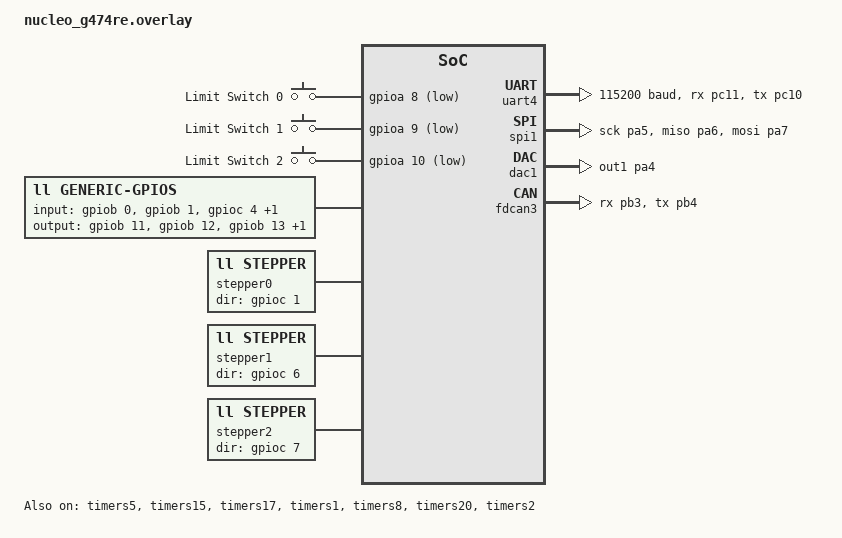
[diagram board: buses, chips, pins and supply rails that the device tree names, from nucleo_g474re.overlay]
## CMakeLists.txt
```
cmake_minimum_required(VERSION 3.20.0)

# Generate a version file based on the git tag & hash at project configuration time
execute_process(
        COMMAND python3 ../gen_version.py
        OUTPUT_FILE ${CMAKE_CURRENT_SOURCE_DIR}/VERSION
        WORKING_DIRECTORY ${CMAKE_CURRENT_SOURCE_DIR}
)


find_package(Zephyr REQUIRED HINTS $ENV{ZEPHYR_BASE})
project(pellet_module_firmware)

set(SRCS
        src/main.c
        src/fault_safety.c
)

target_sources(app PRIVATE ${SRCS})
target_include_directories(app PRIVATE .)
```

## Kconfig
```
mainmenu "Autotrainer Pellet Module Firmware"

source "Kconfig.zephyr"
```

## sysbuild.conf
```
# Sysbuild configuration file.

# Enable MCUboot by default
SB_CONFIG_BOOTLOADER_MCUBOOT=y
SB_CONFIG_BOOT_SIGNATURE_KEY_FILE="${APP_DIR}/pellet_module_key.pem"
```

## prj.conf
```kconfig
CONFIG_LOG=y
CONFIG_SHELL=y
CONFIG_CONSOLE=y

CONFIG_PM=n
CONFIG_PM_DEVICE=n

CONFIG_BOOTLOADER_MCUBOOT=y
CONFIG_MCUBOOT_IMG_MANAGER=y

# Flash driver to store firmware image
CONFIG_FLASH=y
CONFIG_FLASH_MAP=y
CONFIG_FLASH_PAGE_LAYOUT=y
CONFIG_STREAM_FLASH=y
CONFIG_SPI_NOR_FLASH_LAYOUT_PAGE_SIZE=4096
CONFIG_SPI_NOR_SFDP_RUNTIME=y
CONFIG_IMG_MANAGER=y

CONFIG_INPUT=y
CONFIG_INPUT_GPIO_KEYS=y
CONFIG_INPUT_MODE_SYNCHRONOUS=y
CONFIG_INPUT_EVENT_DUMP=n

CONFIG_LIB_MOTOR_MOTION=y

CONFIG_LIB_JERRYCAN=n
CONFIG_LIB_JERRYCAN_RGB_LED=n
CONFIG_LIB_JERRYCAN_DOOR_SENSOR=n

CONFIG_DEBUG=y
CONFIG_DMA_LOG_LEVEL_DBG=n

# This is useful for debugging, but not recommended for production
# CONFIG_THREAD_ANALYZER=y
# CONFIG_THREAD_ANALYZER_USE_LOG=y
# CONFIG_THREAD_ANALYZER_AUTO=y
# CONFIG_THREAD_ANALYZER_AUTO_INTERVAL=30
# CONFIG_THREAD_NAME=y

CONFIG_SETTINGS=y
CONFIG_SETTINGS_SHELL=y

CONFIG_NVS=y
CONFIG_SETTINGS_NVS=y

CONFIG_CAN=y
CONFIG_CAN_FD_MODE=y

# TIM16 counter, used to time the JERRYCAN_CMD_GPIO_PULSE return-low edge
CONFIG_COUNTER=y

CONFIG_USB_DEVICE_STACK=y
# Use FTDI's VID and PID as we're only using the device as a serial port
CONFIG_USB_DEVICE_VID=0x0403
CONFIG_USB_DEVICE_PID=0x6001
CONFIG_USB_DEVICE_MANUFACTURER="FTDI"
CONFIG_USB_DEVICE_PRODUCT="USB-DEV"
CONFIG_USB_DEVICE_SN="0123456789ABCDEF"
CONFIG_USB_DEVICE_INITIALIZE_AT_BOOT=y

CONFIG_USB_CDC_ACM=y

CONFIG_LIB_JERRYCAN=y
CONFIG_LIB_JERRYCAN_DOOR_SENSOR=y
CONFIG_LIB_JERRYCAN_RGB_LED=y

CONFIG_LIB_MOTOR_MOTION_SHELL=y
CONFIG_ADI_TMC2209_SHELL=y

# Run-Time Priorities

# Highest priority is managing the servos and motors
CONFIG_LIB_MOTOR_MOTION_WORK_QUEUE_PRIORITY=-3
# Then the CANbus I/O (jerrycan_run is called within the context of main())
CONFIG_MAIN_THREAD_PRIORITY=-2
# Background writes should have lowest priority
CONFIG_LIB_MOTOR_MOTION_SETTINGS_WORK_QUEUE_PRIORITY=99

# Stack Sizes

CONFIG_MAIN_STACK_SIZE=1536
CONFIG_LIB_MOTOR_MOTION_WORK_QUEUE_STACK_SIZE=1024
CONFIG_LIB_MOTOR_MOTION_SETTINGS_WORK_QUEUE_STACK_SIZE=1024

# The board's RNG node is already enabled in the devicetree; this builds the
# driver behind it so sys_rand32_get has a hardware source. Used for the boot
# id in the capabilities response, which has to differ across boots for the
# host to tell a board that restarted from one that never did.
CONFIG_ENTROPY_GENERATOR=y
```

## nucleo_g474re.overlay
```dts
/ {
	aliases {
		status-led = &green_led;
		button = &user_button;
	};

	gpio_keys {
		status = "okay";

		limit_switch0: limit_switch0 {
			label = "Limit Switch 0";
			gpios = <&gpioa 8 GPIO_ACTIVE_LOW>;
			zephyr,code = <INPUT_KEY_2>;
		};

		limit_switch1: limit_switch1 {
			label = "Limit Switch 1";
			gpios = <&gpioa 9 GPIO_ACTIVE_LOW>;
			zephyr,code = <INPUT_KEY_3>;
		};

		limit_switch2: limit_switch2 {
			label = "Limit Switch 2";
			gpios = <&gpioa 10 GPIO_ACTIVE_LOW>;
			zephyr,code = <INPUT_KEY_4>;
		};
	};

	generic-gpios {
		status = "okay";
		compatible = "ll,generic-gpios";
		input-gpios = <&gpiob 0 GPIO_ACTIVE_HIGH>, // CAN_ID[0] / DeviceType[0]
					  <&gpiob 1 GPIO_ACTIVE_HIGH>, // CAN_ID[1] / DeviceType[1]
					  <&gpioc 4 GPIO_ACTIVE_HIGH>, // CAN_ID[2] / NodeNumber[0]
					  <&gpioc 5 GPIO_ACTIVE_HIGH>; // CAN_ID[3] / NodeNumber[1]
		output-gpios = <&gpiob 11 GPIO_ACTIVE_HIGH>, // Stim[0]
					   <&gpiob 12 GPIO_ACTIVE_HIGH>, // Stim[1]
					   <&gpiob 13 GPIO_ACTIVE_HIGH>, // Stim[2]
					   <&gpiob 14 GPIO_ACTIVE_HIGH>; // Stim[3]
	};
};

&dma1 {
	status = "okay";
};

&dmamux1 {
	status = "okay";
};

&timers5 {
	status = "okay";
	st,prescaler = <84>; // 170 MHz / (84 + 1) = 2 MHz

	servo0: servo0 {
		compatible = "ll,servo";
		status = "okay";

		pinctrl-0 = <&tim5_ch2_pc12>;
		pinctrl-names = "default";

		pwm-channel = <2>;

		dmas = <&dmamux1 0 76 STM32_DMA_PRIORITY_MEDIUM>;
		dma-names = "tx";
	};
};

&timers15 {
	status = "okay";
	st,prescaler = <84>; // 170 MHz / (84 + 1) = 2 MHz

	servo1: servo1 {
		compatible = "ll,servo";
		status = "okay";

		pinctrl-0 = <&tim15_ch2_pb15>;
		pinctrl-names = "default";

		pwm-channel = <2>;

		dmas = <&dmamux1 1 79 STM32_DMA_PRIORITY_MEDIUM>;
		dma-names = "tx";
	};
};

&timers17 {
	status = "okay";
	st,prescaler = <84>; // 170 MHz / (84 + 1) = 2 MHz

	servo2: servo2 {
		compatible = "ll,servo";
		status = "okay";

		pinctrl-0 = <&tim17_ch1_pb9>;
		pinctrl-names = "default";

		pwm-channel = <1>;

		dmas = <&dmamux1 2 85 STM32_DMA_PRIORITY_MEDIUM>;
		dma-names = "tx";
	};
};

&timers1 {
	status = "okay";
	st,prescaler = <849>; // 170 MHz / (849 + 1) = 200 kHz

	stepper0: stepper0 {
		compatible = "ll,stepper";
		status = "okay";

		pinctrl-0 = <&tim1_ch3_pc2>;
		pinctrl-names = "default";

		// Direction Pin
		dir-gpios = <&gpioc 1 GPIO_ACTIVE_HIGH>;

		// PWM Channel to use
		pwm-channel = <3>;

		dmas = <&dmamux1 3 46 STM32_DMA_PRIORITY_MEDIUM>;
		dma-names = "tx";
	};
};

&timers8 {
	status = "okay";
	st,prescaler = <849>; // 170 MHz / (849 + 1) = 200 kHz

	stepper1: stepper1 {
		compatible = "ll,stepper";
		status = "okay";

		pinctrl-0 = <&tim8_ch4_pc9>;
		pinctrl-names = "default";

		// Direction Pin
		dir-gpios = <&gpioc 6 GPIO_ACTIVE_HIGH>;

		// PWM Channel to use
		pwm-channel = <4>;

		dmas = <&dmamux1 4 53 STM32_DMA_PRIORITY_MEDIUM>;
		dma-names = "tx";
	};
};

&timers20 {
	status = "okay";
	st,prescaler = <849>; // 170 MHz / (849 + 1) = 200 kHz

	stepper2: stepper2 {
		compatible = "ll,stepper";
		status = "okay";

		pinctrl-0 = <&tim20_ch3_pc8>;
		pinctrl-names = "default";

		// Direction Pin
		dir-gpios = <&gpioc 7 GPIO_ACTIVE_HIGH>;

		// PWM Channel to use
		pwm-channel = <3>;

		dmas = <&dmamux1 5 90 STM32_DMA_PRIORITY_MEDIUM>;
		dma-names = "tx";
	};
};


&uart4 {
	pinctrl-0 = <&uart4_rx_pc11 &uart4_tx_pc10>;
	pinctrl-names = "default";
	current-speed = <115200>;
	status = "okay";
};

&spi1 {
	pinctrl-0 = <&spi1_sck_pa5 &spi1_miso_pa6 &spi1_mosi_pa7>;
	pinctrl-names = "default";
	cs-gpios = <&gpioa 15 (GPIO_ACTIVE_LOW | GPIO_PULL_UP)>;
	status = "okay";
};

&dac1 {
	pinctrl-0 = <&dac1_out1_pa4>;
	pinctrl-names = "default";
	status = "okay";
};

&timers2 {
	status = "okay";
};

/ {
	tone_generator {
		compatible = "ll,tone-generator";
	
		sample-rate-timer = <&timers2>;
	
		dac = <&dac1>;

		dac-channel = <1>;
	
		dmas = <&dmamux1 6 6 STM32_DMA_PRIORITY_HIGH>;
		dma-names = "tx";
	
		status = "okay";
	};
};

&fdcan3 {
	clocks = <&rcc STM32_CLOCK_BUS_APB1 0x02000000>,
			 <&rcc STM32_SRC_HSE FDCAN_SEL(0)>;
	pinctrl-0 = <&fdcan3_rx_pb3 &fdcan3_tx_pb4>;
	pinctrl-names = "default";
	status = "okay";
};
```

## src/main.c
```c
#include <app_version.h>
#include <zephyr/device.h>
#include <zephyr/kernel.h>
#include <zephyr/logging/log.h>

#include "jerrycan.h"

LOG_MODULE_REGISTER(app);

int main() {
    LOG_INF("Autotrainer Pellet Module v%s", APP_VERSION_STRING);
    while (true) {
        jerrycan_run(K_FOREVER);
    }
}
```

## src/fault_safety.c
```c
/**
 * @file fault_safety.c
 * @brief What takes the shared stepper enable off after a fatal firmware error.
 *
 * Zephyr 3.7's default fatal error handler logs and halts with interrupts locked. With interrupts locked, the DMA
 * completion that stops a stepper's timer cannot run, so STEP likely keeps pulsing at its last rate until the board is
 * power cycled (reasoned from the code; not measured), and with the drivers enabled the motors keep stepping. A fatal
 * error (a CPU exception, a stack overflow, k_oops(), k_panic(), an unhandled interrupt) calls
 * k_sys_fatal_error_handler(); the one here takes EN off first, then halts exactly as Zephyr's does.
 *
 * EN only exists on a v1.3 board. Without an enable net, stepper_power_force_off_for_fault() returns at once and
 * touches no pin, so a v1.2 board halts exactly as it did before this file. That is also why the handler halts and does
 * not reset: a reset would change v1.2 behaviour.
 *
 * EN goes off before anything is written to the UART. Zephyr reports the fault, a few lines, before it calls the
 * handler, and with deferred logging that only queues them. In immediate mode they would go out the UART first, so the
 * BUILD_ASSERT below keeps the log deferred.
 *
 * Built only into the pellet app, so the magnet and IO module images keep Zephyr's default handler. Nothing can
 * exercise the handler off target: it is compile-checked only until it is triggered on a board.
 */

#include <zephyr/fatal.h>
#include <zephyr/kernel.h>
#include <zephyr/logging/log.h>
#include <zephyr/logging/log_ctrl.h>

#include "stepper_power.h"

LOG_MODULE_REGISTER(fault_safety, LOG_LEVEL_INF);

BUILD_ASSERT(IS_ENABLED(CONFIG_LOG_MODE_DEFERRED),
             "The fatal error handler takes the stepper enable off after Zephyr reports the fault. With deferred "
             "logging that only queues the report. In immediate mode the report goes out the UART first, and EN would "
             "stay on for all of it. CONFIG_LOG_MODE_DEFERRED must stay on");

/*
    Replaces Zephyr's weak handler. Runs in the faulting context with interrupts locked (z_fatal_error() locks them
    before it calls this), after Zephyr has queued its own report of the fault; it never returns.

    The body is Zephyr's (LOG_PANIC(), "Halting system", then k_fatal_halt(), which is arch_system_halt()) with EN taken
    off first. stepper_power_force_off_for_fault() takes no spinlock and does one GPIO write, since a spinlock held by
    the faulting context would never be released.
*/
void k_sys_fatal_error_handler(unsigned int reason, const struct arch_esf *esf) {
    ARG_UNUSED(esf);

    stepper_power_force_off_for_fault();

    LOG_PANIC();
    LOG_ERR("Halting system");
    k_fatal_halt(reason);
}
```
